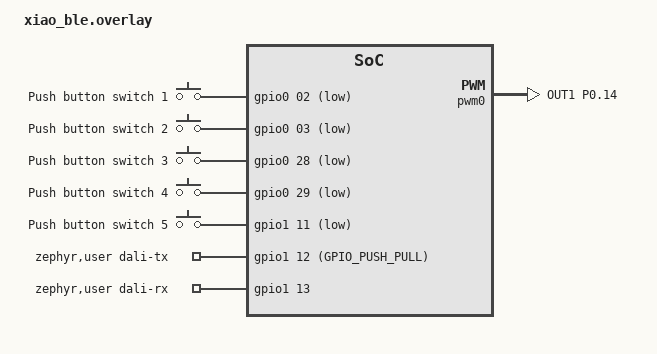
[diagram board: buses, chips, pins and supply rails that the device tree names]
/ {
	chosen {
		nordic,pm-ext-flash = &p25q16h;
		zephyr,entropy = &rng;
	};


	pwmleds {
		pwm_led1: pwm_led_1 {
			pwms = <&pwm0 1 PWM_MSEC(20) PWM_POLARITY_INVERTED>;
		};
	};

	buttons {
		compatible = "gpio-keys";

		
		button1: button_1 {
			gpios = <&gpio0 02 (GPIO_PULL_UP | GPIO_ACTIVE_LOW)>;
			label = "Push button switch 1";
		};
		button2: button_2 {
			gpios = <&gpio0 03 (GPIO_PULL_UP | GPIO_ACTIVE_LOW)>;
			label = "Push button switch 2";
		};
		button3: button_3 {
			gpios = <&gpio0 28 (GPIO_PULL_UP | GPIO_ACTIVE_LOW)>;
			label = "Push button switch 3";
		};
		button4: button_4 {
			gpios = <&gpio0 29 (GPIO_PULL_UP | GPIO_ACTIVE_LOW)>;
			label = "Push button switch 4";
		};
		button5: button_5 {
			gpios = <&gpio1 11 (GPIO_PULL_UP | GPIO_ACTIVE_LOW)>;
			label = "Push button switch 5";
		};
    };

	zephyr,user {
		dali-tx-gpios = <&gpio1 12 (GPIO_PUSH_PULL)>;
		dali-rx-gpios = <&gpio1 13 (GPIO_PULL_UP)>;
	};

    aliases {
        sw1 = &button1;
        sw2 = &button2;
        sw3 = &button3;
        sw4 = &button4;
        sw5 = &button5;
		/*
		* By default, PWM module is only configured for led0 (LED1 on the board).
		* The light bulb app, however, uses LED2 to show the state of the lighting,
		* including its brightness level.
		*/
		pwm-led1 = &pwm_led1;
    };
};

&pwm0 {
	pinctrl-0 = <&pwm0_default_alt>;
	pinctrl-1 = <&pwm0_sleep_alt>;
	pinctrl-names = "default", "sleep";
};

&pinctrl {
	pwm0_default_alt: pwm0_default_alt {
		group1 {
			psels = <NRF_PSEL(PWM_OUT1, 0, 14)>;
			nordic,invert;
		};
	};

	pwm0_sleep_alt: pwm0_sleep_alt {
		group1 {
			psels = <NRF_PSEL(PWM_OUT1, 0, 14)>;
			low-power-enable;
		};
	};

};

/* Disable unused peripherals to reduce power consumption */
&adc {
	status = "disabled";
};
&uart1 {
	status = "disabled";
};
&i2c0 {
	status = "disabled";
};
&spi1 {
	status = "disabled";
};
&spi3 {
	status = "disabled";
};
&usbd {
	status = "disabled";
};
